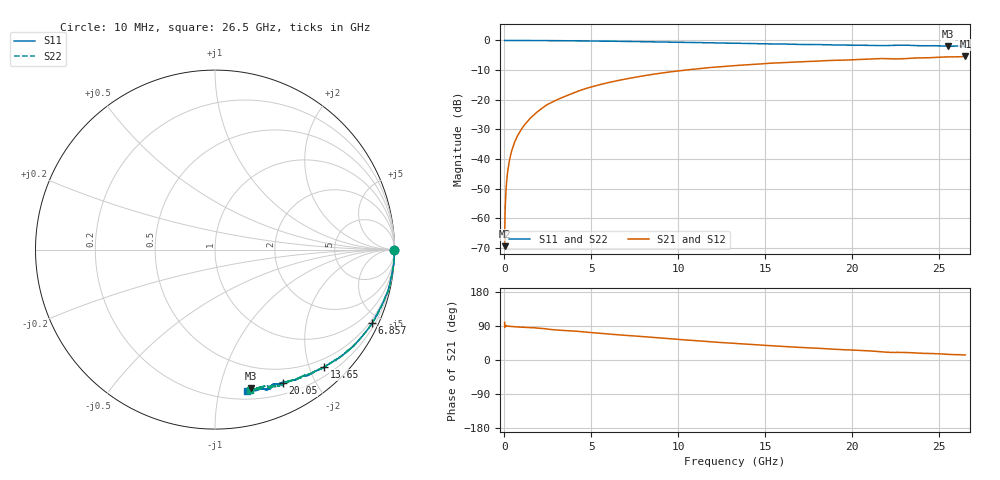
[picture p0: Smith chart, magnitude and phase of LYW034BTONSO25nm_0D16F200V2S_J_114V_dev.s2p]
!Keysight Technologies,N5222B,MY61253708,A.15.00.15
!Date: Wednesday, June 19, 2024 09:45:59
!Correction: S11(C  2-Port  )
!S21(C  2-Port  )
!S12(C  2-Port  )
!S22(C  2-Port  )
!S2P File: Measurements: S11, S21, S12, S22:
# Hz S  RI  R 50
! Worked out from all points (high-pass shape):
!   2651 points, 10 MHz to 26.5 GHz, reference 50 ohm
!   highest |S21| = -5.38 dB at 26.5 GHz (marker M1); lowest = -69.3 dB at 10 MHz (marker M2)
!   |S21| within 3 dB of the highest: 13.45298 GHz to 13.49291 GHz (39.93 MHz wide, 0.296 % of centre); 13.51 GHz to end of sweep
!   lowest |S11| = -2.0 dB at 25.5 GHz (marker M3), VSWR 8.87, Z = 14.7 - j62.4 ohm
!   |S11| at or under -10 dB: nowhere
!   |S22| runs from -1.9 to 0.0 dB; largest |S21 - S12| = 0.0065
!   S11 on the Smith chart (normalised r, x): 10 MHz: open; 6.857 GHz: 0.37, -4.45; 13.65 GHz: 0.35, -2.25; 20.05 GHz: 0.32, -1.58; 26.5 GHz: 0.27, -1.22
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1e7  0.9987 -0.00292  -5.56e-05 0.000336  0.000102 6.87e-05  0.9985 -0.00166
1.499472e8  1 -0.0109  4.93e-05 0.00495  4.9e-05 0.00499  0.9996 -0.0101
1.799358e8  1 -0.0121  7.97e-05 0.00595  5.78e-05 0.00599  0.9996 -0.0114
2.199208e8  0.9999 -0.015  0.000126 0.00726  0.000106 0.00733  0.9994 -0.0141
3.098868e8  0.9995 -0.021  0.000209 0.0102  0.000212 0.0103  0.9994 -0.0199
4.298415e8  0.9993 -0.0289  0.000391 0.0141  0.000379 0.0143  0.9995 -0.0279
5.797849e8  0.9986 -0.0388  0.000722 0.0191  0.000716 0.0192  0.9988 -0.0375
7.697132e8  0.9983 -0.0513  0.00124 0.0253  0.00127 0.0255  0.9981 -0.0505
1.059604e9  0.9974 -0.0717  0.00218 0.0345  0.00221 0.0348  0.9961 -0.0692
1.409472e9  0.9909 -0.0959  0.00322 0.0461  0.00334 0.0464  0.9936 -0.0916
2.299136e9  0.9827 -0.15  0.00948 0.0764  0.00978 0.077  0.9842 -0.1498
3.128823e9  0.9716 -0.2027  0.0201 0.1014  0.0204 0.1021  0.9723 -0.2005
4.428332e9  0.9424 -0.2808  0.0383 0.1414  0.0388 0.1423  0.9448 -0.2768
6.857415e9  0.8736 -0.4111  0.0918 0.2007  0.0932 0.2016  0.8764 -0.4088
8.846664e9  0.8027 -0.5026  0.1447 0.2365  0.1463 0.2372  0.8058 -0.4992
1.3255e10  0.6264 -0.6426  0.272 0.2609  0.2744 0.2606  0.6327 -0.6396
1.365485e10  0.6088 -0.6531  0.2836 0.2595  0.2851 0.2596  0.6172 -0.6489
1.767333e10  0.4542 -0.7217  0.3783 0.2332  0.3818 0.2314  0.4679 -0.7182
2.005243e10  0.3767 -0.7439  0.425 0.2087  0.4275 0.2054  0.3938 -0.7417
2.209166e10  0.3186 -0.7542  0.4611 0.1713  0.463 0.1681  0.3165 -0.7603
2.550038e10  0.1998 -0.7719  0.5103 0.1348  0.5118 0.134  0.2237 -0.7752
2.65e10  0.1805 -0.7857  0.5236 0.1235  0.5233 0.1194  0.1974 -0.7849
